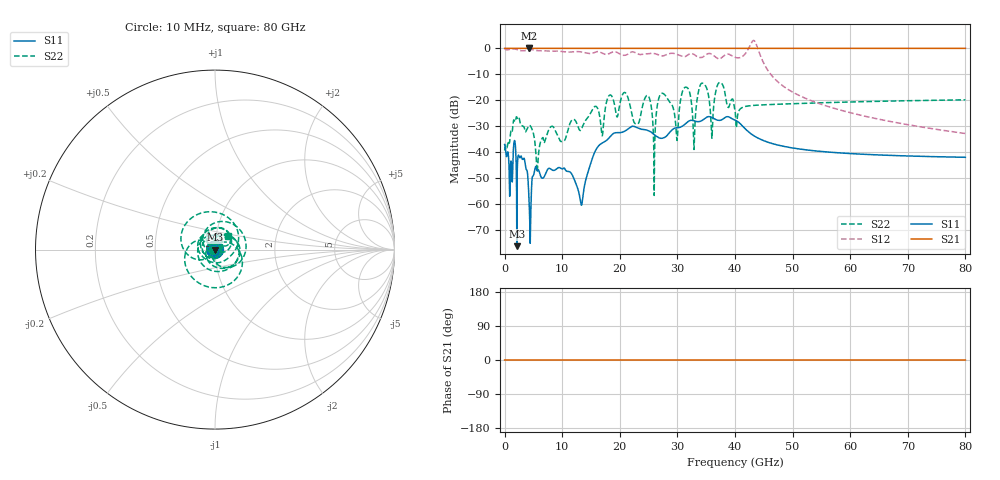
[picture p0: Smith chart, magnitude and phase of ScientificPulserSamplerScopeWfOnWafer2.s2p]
# Hz S DB R 50
!Touchstone multiport model file <C:\work\PySI\TestSignalIntegrity\OysterSimulation\ResampledSimbeor\ScientificPulserSamplerScopeWfOnWafer2.s2p>
!Created on 22 Aug 18, at 17:52:31.
!Created with Simbeor THz 2018.01(64bit) of Simberian Inc. built on Jul 20 2018
!Output from MultiportParameters of Simbeor.
!Multiport parameters: DataOrigin=Simulation DataOriginName="Project(1).ScientificPulserSamplerScopeWfOnWafer2(1)_resampled.LNS"
!RESAMPLED_RCM: Max_RMS_Error=0.0228172; FrqLow=0; FrqHigh=4e+10; MaxTimeResolution=1.25e-11; PassivityState=0; ReciprocityState=0; DataSource="`럿n"
!RATIONAL COMPACTOR: Precision: Normal; Extract Delay: ON; Extrapolate to DC: ON; Extrapolate to Infinity: OFF; Enforce Passivity: OFF; Enforce Reciprocity: OFF; Band Limit Factor: 1; Auto-Adjust Config: OFF
!Uncomment the following lines with keywords in square brakets to support IBIS forum specification 2.0.
![Version] 2.0 !This line should be the first in file, preceeding the line starting with #.
![Number of Ports] 2
![Number of Frequencies] 8001
![Two-Port Data Order] 21_12
![Reference] 50 50
!!!!Multiport descriptor profile: InputCount=2 TotalPortCount=2
!DescriptorOutline={DescriptorType=SMatrix InputSpace=Terminal NormalizationType=CommonZo NormalizationCommonZo=50 Ohm OutputFormat=DBMagnitudeAngle}
!InputProfile={Name="IO1" IsTLineInput=False InputNumber=1 PortCount=1 FirstPortNumber=1 InputSpace=Terminal BlockType=SBlock NormalizationType=CommonZo Zo=50}
!InputProfile={Name="IO2" IsTLineInput=False InputNumber=2 PortCount=1 FirstPortNumber=2 InputSpace=Terminal BlockType=SBlock NormalizationType=CommonZo Zo=50}
!!!Global port number to input_name/local_port_number correspondence:
!Port 1 -> "IO1"/local_port_1 (terminal)
!Port 2 -> "IO2"/local_port_1 (terminal)
!!!!End of descriptor profile.
!Frequency Hz 20.0*log(|S[1,1]|) arg(S[1,1]) 20.0*log(|S[2,1]|) arg(S[2,1]) 20.0*log(|S[1,2]|) arg(S[1,2]) 20.0*log(|S[2,2]|) arg(S[2,2])
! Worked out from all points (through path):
!   8000 points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, 10 MHz to 80 GHz, reference 50 ohm
!   highest |S21| = 0.00 dB at 4.28 GHz (marker M1); lowest = 0.0 dB at 4.32 GHz (marker M2)
!   lowest |S11| = -76.4 dB at 2.12 GHz (marker M3), VSWR 1.00, Z = 50 - j0.00731 ohm
!   |S11| at or under -10 dB: start of sweep to end of sweep
!   |S22| runs from -56.8 to -13.2 dB; largest |S21 - S12| = 2.1
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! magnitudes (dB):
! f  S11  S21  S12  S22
! 10 MHz  -37.1  0.0  -0.2  -39.5
! 2.12 GHz  -76.4  0.0  -0.5  -26.6
! 4.28 GHz  -60.1  0.0  -0.6  -29.8
! 4.32 GHz  -62.6  0.0  -0.6  -29.7
! 5.7 GHz  -47.3  0.0  -0.9  -47.1
! 9.46 GHz  -46.0  0.0  -1.1  -34.8
! 13.35 GHz  -60.6  0.0  -1.4  -31.2
! 18.73 GHz  -33.2  0.0  -1.4  -18.9
! 24.88 GHz  -31.7  0.0  -2.1  -18.2
! 25.97 GHz  -33.3  0.0  -2.0  -53.3
! 26.68 GHz  -34.4  0.0  -2.5  -20.1
! 29.9 GHz  -30.7  0.0  -2.3  -35.1
! 31.62 GHz  -28.7  0.0  -2.8  -15.1
! 32.91 GHz  -28.0  0.0  -2.4  -38.4
! 34.1 GHz  -28.1  0.0  -3.6  -13.7
! 35.98 GHz  -26.7  0.0  -2.3  -34.7
! 37.45 GHz  -27.8  0.0  -3.9  -13.2
! 40.01 GHz  -27.7  0.0  -3.5  -24.0
! 43.32 GHz  -33.8  0.0  3.0  -22.0
! 53.34 GHz  -39.5  0.0  -20.3  -21.1
! 66.67 GHz  -41.3  0.0  -28.1  -20.4
! 80 GHz  -42.1  0.0  -32.9  -19.9
